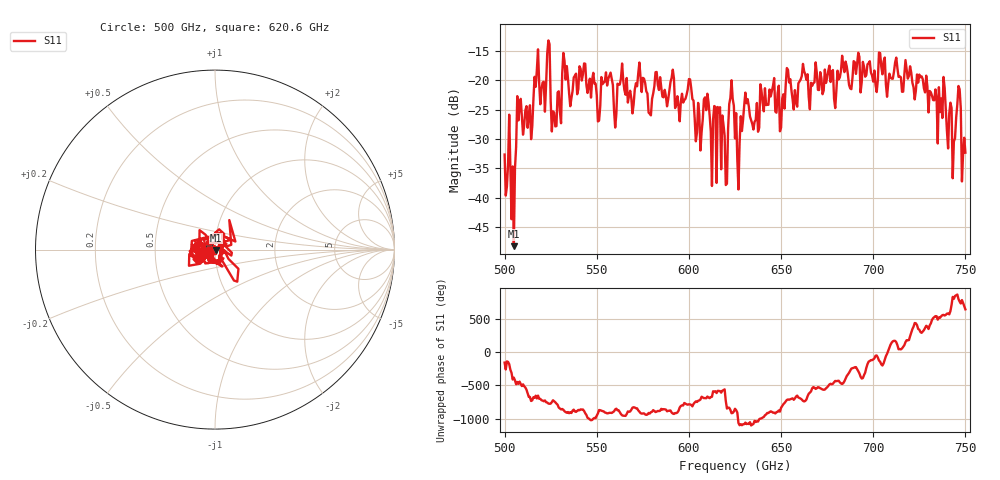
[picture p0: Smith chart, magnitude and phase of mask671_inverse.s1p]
!Created with skrf (http://scikit-rf.org).
# GHz S MA R 50.0
!freq magS11 angS11
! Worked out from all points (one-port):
!   401 points, 500 GHz to 750 GHz, reference 50 ohm
!   lowest |S11| = -48.2 dB at 505 GHz (marker M1), VSWR 1.01, Z = 50.3 - j0.174 ohm
!   |S11| at or under -10 dB: start of sweep to end of sweep
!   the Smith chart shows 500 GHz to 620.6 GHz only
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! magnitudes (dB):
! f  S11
! 500 GHz  -32.7
! 505 GHz  -48.2
! 508.1 GHz  -24.5
! 513.8 GHz  -24.3
! 516.9 GHz  -21.1
! 523.8 GHz  -13.3
! 526.9 GHz  -25.5
! 531.2 GHz  -18.9
! 556.2 GHz  -19.8
! 560.6 GHz  -25.7
! 562.5 GHz  -20.7
! 578.8 GHz  -25.7
! 590.6 GHz  -19.6
! 593.8 GHz  -22.7
! 600.6 GHz  -19.9
! 605 GHz  -23.9
! 609.4 GHz  -25.1
! 620 GHz  -37.8
! 623.1 GHz  -20.0
! 625 GHz  -29.9
! 627.5 GHz  -30.6
! 631.2 GHz  -23.9
! 656.2 GHz  -23.3
! 687.5 GHz  -21.4
! 718.8 GHz  -19.8
! 743.8 GHz  -30.4
! 746.2 GHz  -21.0
! 750 GHz  -32.3
